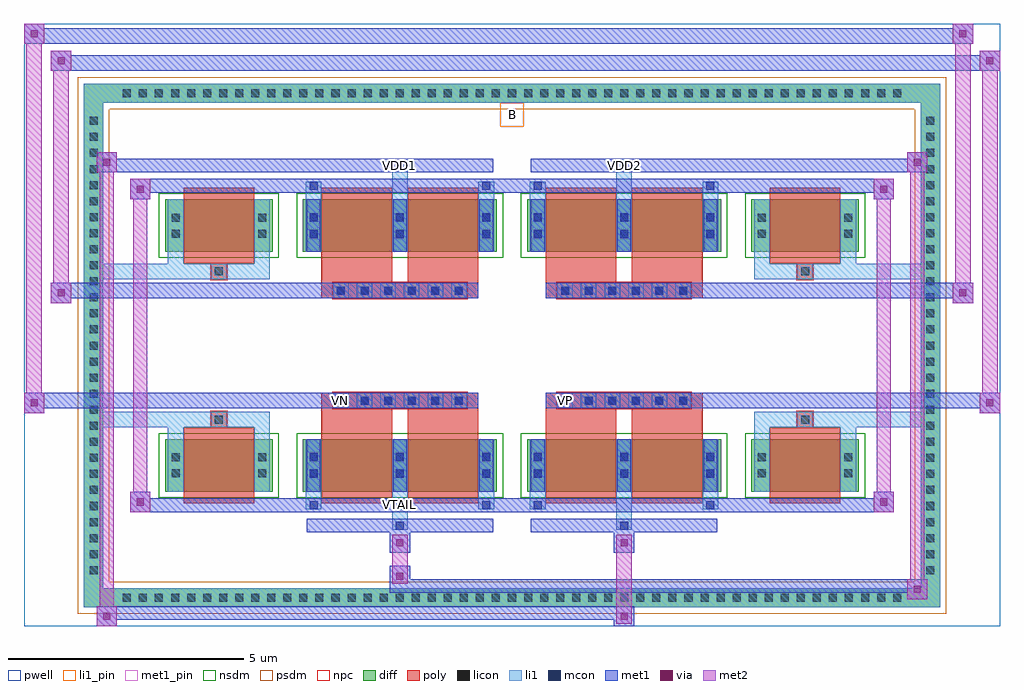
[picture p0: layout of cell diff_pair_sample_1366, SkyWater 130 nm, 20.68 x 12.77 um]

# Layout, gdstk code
import gdstk
lib = gdstk.Library(unit=1e-6, precision=5e-09)
def R(c, l, rs):  # rectangles x0, y0, x1, y1
    for r in rs: c.add(gdstk.rectangle(r[:2], r[2:], *l))
def A(c, l, x, y, w, h, nx, ny, dx, dy):  # array of equal rectangles
    R(c, l, [(x+i*dx, y+j*dy, x+i*dx+w, y+j*dy+h) for i in range(nx) for j in range(ny)])
def P(c, l, *ps):  # polygons
    for p in ps: c.add(gdstk.Polygon(p, *l))
pwell = (64, 44)
diff = (65, 20)
poly = (66, 20)
licon = (66, 44)
li1_pin = (67, 16)
li1 = (67, 20)
mcon = (67, 44)
met1_pin = (68, 16)
met1 = (68, 20)
via = (68, 44)
met2 = (69, 20)
nsdm = (93, 44)
psdm = (94, 20)
npc = (95, 20)

diff_pair_sample_1366 = lib.new_cell('diff_pair_sample_1366')
R(diff_pair_sample_1366, pwell, [(-10.34,-5.95,10.34,6.82), (-7.66,-4.14,-0.01,-0.8), (0.01,-4.14,7.66,-0.8), (-7.66,0.8,-0.01,4.14), (0.01,0.8,7.66,4.14)])
A(diff_pair_sample_1366, diff, -8.365, -5.55, 0.41, 0.41, 49, 2, 0.34, 10.69)
A(diff_pair_sample_1366, diff, -9.07, -4.965, 0.41, 0.41, 1, 29, 0, 0.34)
A(diff_pair_sample_1366, diff, 8.66, -4.965, 0.41, 0.41, 1, 29, 0, 0.34)
R(diff_pair_sample_1366, diff, [(-8.365,-5.55,8.365,-5.14), (-9.07,-4.965,-8.66,4.965), (8.66,-4.965,9.07,4.965), (-7.35,-3.095,-5.07,-1.985), (-4.43,-3.095,-0.32,-1.985), (0.32,-3.095,4.43,-1.985), (5.07,-3.095,7.35,-1.985), (-7.35,1.985,-5.07,3.095), (-4.43,1.985,-0.32,3.095), (0.32,1.985,4.43,3.095), (5.07,1.985,7.35,3.095), (-8.365,5.14,8.365,5.55)])
P(diff_pair_sample_1366, diff, [(9.07,5.55),(-9.07,5.55),(-9.07,-5.14),(-8.66,-5.14),(-8.66,5.14),(8.66,5.14),(8.66,-5.14),(-8.66,-5.14),(-9.07,-5.14),(-9.07,-5.55),(9.07,-5.55)])
A(diff_pair_sample_1366, poly, -3.79, -1.33, 0.33, 0.33, 6, 2, 0.5, 2.33)
A(diff_pair_sample_1366, poly, 0.96, -1.33, 0.33, 0.33, 6, 2, 0.5, 2.33)
R(diff_pair_sample_1366, poly, [(-6.96,-3.345,-5.46,-1.735), (-4.04,-3.345,-2.54,-1.735), (-2.21,-3.345,-0.71,-1.735), (0.71,-3.345,2.21,-1.735), (2.54,-3.345,4.04,-1.735), (5.46,-3.345,6.96,-1.735), (-6.375,-1.735,-6.045,-1.405), (-6.375,-1.735,-6.045,-1.405), (-4.04,-1.735,-2.54,-1.33), (-2.21,-1.735,-0.71,-1.33), (0.71,-1.735,2.21,-1.33), (2.54,-1.735,4.04,-1.33), (6.045,-1.735,6.375,-1.405), (6.045,-1.735,6.375,-1.405), (-4.04,-1.33,-0.71,-1), (0.71,-1.33,4.04,-1), (-4.04,1,-0.71,1.33), (0.71,1,4.04,1.33), (-4.04,1.33,-2.54,1.735), (-2.21,1.33,-0.71,1.735), (0.71,1.33,2.21,1.735), (2.54,1.33,4.04,1.735), (-6.375,1.405,-6.045,1.735), (-6.375,1.405,-6.045,1.735), (6.045,1.405,6.375,1.735), (6.045,1.405,6.375,1.735), (-6.96,1.735,-5.46,3.345), (-4.04,1.735,-2.54,3.345), (-2.21,1.735,-0.71,3.345), (0.71,1.735,2.21,3.345), (2.54,1.735,4.04,3.345), (5.46,1.735,6.96,3.345)])
A(diff_pair_sample_1366, licon, -8.245, -5.43, 0.17, 0.17, 49, 2, 0.34, 10.69)
A(diff_pair_sample_1366, licon, -8.95, -4.845, 0.17, 0.17, 1, 29, 0, 0.34)
A(diff_pair_sample_1366, licon, 8.78, -4.845, 0.17, 0.17, 1, 29, 0, 0.34)
A(diff_pair_sample_1366, licon, -4.29, -2.795, 0.17, 0.17, 3, 2, 1.83, 0.34)
A(diff_pair_sample_1366, licon, 0.46, -2.795, 0.17, 0.17, 3, 2, 1.83, 0.34)
A(diff_pair_sample_1366, licon, -3.71, -1.25, 0.17, 0.17, 6, 2, 0.5, 2.33)
A(diff_pair_sample_1366, licon, 1.04, -1.25, 0.17, 0.17, 6, 2, 0.5, 2.33)
A(diff_pair_sample_1366, licon, -4.29, 2.285, 0.17, 0.17, 3, 2, 1.83, 0.34)
A(diff_pair_sample_1366, licon, 0.46, 2.285, 0.17, 0.17, 3, 2, 1.83, 0.34)
R(diff_pair_sample_1366, licon, [(-7.21,-2.795,-7.04,-2.625), (-5.38,-2.795,-5.21,-2.625), (5.21,-2.795,5.38,-2.625), (7.04,-2.795,7.21,-2.625), (-7.21,-2.455,-7.04,-2.285), (-5.38,-2.455,-5.21,-2.285), (5.21,-2.455,5.38,-2.285), (7.04,-2.455,7.21,-2.285), (-6.295,-1.655,-6.125,-1.485), (6.125,-1.655,6.295,-1.485), (-6.295,1.485,-6.125,1.655), (6.125,1.485,6.295,1.655), (-7.21,2.285,-7.04,2.455), (-5.38,2.285,-5.21,2.455), (5.21,2.285,5.38,2.455), (7.04,2.285,7.21,2.455), (-7.21,2.625,-7.04,2.795), (-5.38,2.625,-5.21,2.795), (5.21,2.625,5.38,2.795), (7.04,2.625,7.21,2.795)])
R(diff_pair_sample_1366, li1_pin, [(-0.25,4.64,0.25,5.14)])
A(diff_pair_sample_1366, li1, -8.325, -5.51, 0.33, 0.33, 49, 2, 0.34, 10.69)
A(diff_pair_sample_1366, li1, -9.03, -4.925, 0.33, 0.33, 1, 29, 0, 0.34)
A(diff_pair_sample_1366, li1, 8.7, -4.925, 0.33, 0.33, 1, 29, 0, 0.34)
A(diff_pair_sample_1366, li1, -4.37, -3.095, 0.33, 1.11, 3, 2, 1.83, 5.08)
A(diff_pair_sample_1366, li1, 0.38, -3.095, 0.33, 1.11, 3, 2, 1.83, 5.08)
A(diff_pair_sample_1366, li1, -4.37, -2.875, 0.33, 0.33, 3, 2, 1.83, 0.34)
A(diff_pair_sample_1366, li1, 0.38, -2.875, 0.33, 0.33, 3, 2, 1.83, 0.34)
A(diff_pair_sample_1366, li1, -4.29, -2.805, 0.17, 0.17, 3, 2, 1.83, 0.36)
A(diff_pair_sample_1366, li1, -4.29, -2.805, 0.17, 0.53, 3, 2, 1.83, 5.08)
A(diff_pair_sample_1366, li1, 0.46, -2.805, 0.17, 0.17, 3, 2, 1.83, 0.36)
A(diff_pair_sample_1366, li1, 0.46, -2.805, 0.17, 0.53, 3, 2, 1.83, 5.08)
A(diff_pair_sample_1366, li1, -3.79, -1.33, 0.33, 0.33, 6, 2, 0.5, 2.33)
A(diff_pair_sample_1366, li1, 0.96, -1.33, 0.33, 0.33, 6, 2, 0.5, 2.33)
A(diff_pair_sample_1366, li1, -4.37, 2.205, 0.33, 0.33, 3, 2, 1.83, 0.34)
A(diff_pair_sample_1366, li1, 0.38, 2.205, 0.33, 0.33, 3, 2, 1.83, 0.34)
A(diff_pair_sample_1366, li1, -4.29, 2.275, 0.17, 0.17, 3, 2, 1.83, 0.36)
A(diff_pair_sample_1366, li1, 0.46, 2.275, 0.17, 0.17, 3, 2, 1.83, 0.36)
R(diff_pair_sample_1366, li1, [(-9.07,-5.55,-8.66,-5.14), (-9.07,-5.55,-8.66,-5.14), (-8.66,-5.55,8.66,-5.14), (8.66,-5.55,9.07,-5.14), (8.66,-5.55,9.07,-5.14), (-9.07,-5.14,-8.66,5.14), (8.66,-5.14,9.07,5.14), (-2.54,-3.9,-2.21,-3.095), (-2.46,-3.9,-2.29,-3.73), (2.21,-3.9,2.54,-3.095), (2.29,-3.9,2.46,-3.73), (-4.37,-3.47,-4.04,-3.095), (-4.29,-3.47,-4.12,-3.3), (-0.71,-3.47,-0.38,-3.095), (-0.63,-3.47,-0.46,-3.3), (0.38,-3.47,0.71,-3.095), (0.46,-3.47,0.63,-3.3), (4.04,-3.47,4.37,-3.095), (4.12,-3.47,4.29,-3.3), (-7.29,-3.095,-6.96,-1.985), (-5.46,-3.095,-5.13,-1.985), (5.13,-3.095,5.46,-1.985), (6.96,-3.095,7.29,-1.985), (-7.29,-2.875,-6.96,-2.545), (-5.46,-2.875,-5.13,-2.545), (5.13,-2.875,5.46,-2.545), (6.96,-2.875,7.29,-2.545), (-7.29,-2.535,-6.96,-2.205), (-5.46,-2.535,-5.13,-2.205), (5.13,-2.535,5.46,-2.205), (6.96,-2.535,7.29,-2.205), (-7.29,-1.985,-6.96,-1.405), (-5.46,-1.985,-5.13,-1.405), (5.13,-1.985,5.46,-1.405), (6.96,-1.985,7.29,-1.405), (-9.07,-1.735,-6.375,-1.405), (-7.29,-1.735,-6.375,-1.405), (-6.375,-1.735,-6.045,-1.405), (-6.045,-1.735,-5.13,-1.405), (5.13,-1.735,6.045,-1.405), (6.045,-1.735,6.375,-1.405), (6.045,-1.735,9.07,-1.405), (6.375,-1.735,7.29,-1.405), (-9.07,1.405,-6.375,1.735), (-7.29,1.405,-6.375,1.735), (-7.29,1.405,-6.96,1.985), (-6.375,1.405,-6.045,1.735), (-6.045,1.405,-5.13,1.735), (-5.46,1.405,-5.13,1.985), (5.13,1.405,6.045,1.735), (5.13,1.405,5.46,1.985), (6.045,1.405,6.375,1.735), (6.045,1.405,9.07,1.735), (6.375,1.405,7.29,1.735), (6.96,1.405,7.29,1.985), (-7.29,1.985,-6.96,3.095), (-5.46,1.985,-5.13,3.095), (5.13,1.985,5.46,3.095), (6.96,1.985,7.29,3.095), (-7.29,2.205,-6.96,2.535), (-5.46,2.205,-5.13,2.535), (5.13,2.205,5.46,2.535), (6.96,2.205,7.29,2.535), (-7.29,2.545,-6.96,2.875), (-5.46,2.545,-5.13,2.875), (5.13,2.545,5.46,2.875), (6.96,2.545,7.29,2.875), (-4.37,3.095,-4.04,3.47), (-2.54,3.095,-2.21,3.9), (-0.71,3.095,-0.38,3.47), (0.38,3.095,0.71,3.47), (2.21,3.095,2.54,3.9), (4.04,3.095,4.37,3.47), (-4.29,3.3,-4.12,3.47), (-0.63,3.3,-0.46,3.47), (0.46,3.3,0.63,3.47), (4.12,3.3,4.29,3.47), (-2.46,3.73,-2.29,3.9), (2.29,3.73,2.46,3.9), (-9.07,5.14,-8.66,5.55), (-9.07,5.14,-8.66,5.55), (-8.66,5.14,8.66,5.55), (8.66,5.14,9.07,5.55), (8.66,5.14,9.07,5.55)])
A(diff_pair_sample_1366, mcon, -4.29, -2.805, 0.17, 0.17, 3, 2, 1.83, 0.36)
A(diff_pair_sample_1366, mcon, 0.46, -2.805, 0.17, 0.17, 3, 2, 1.83, 0.36)
A(diff_pair_sample_1366, mcon, -3.71, -1.25, 0.17, 0.17, 6, 2, 0.5, 2.33)
A(diff_pair_sample_1366, mcon, 1.04, -1.25, 0.17, 0.17, 6, 2, 0.5, 2.33)
A(diff_pair_sample_1366, mcon, -4.29, 2.275, 0.17, 0.17, 3, 2, 1.83, 0.36)
A(diff_pair_sample_1366, mcon, 0.46, 2.275, 0.17, 0.17, 3, 2, 1.83, 0.36)
R(diff_pair_sample_1366, mcon, [(-2.46,-3.9,-2.29,-3.73), (2.29,-3.9,2.46,-3.73), (-4.29,-3.47,-4.12,-3.3), (-0.63,-3.47,-0.46,-3.3), (0.46,-3.47,0.63,-3.3), (4.12,-3.47,4.29,-3.3), (-4.29,3.3,-4.12,3.47), (-0.63,3.3,-0.46,3.47), (0.46,3.3,0.63,3.47), (4.12,3.3,4.29,3.47), (-2.46,3.73,-2.29,3.9), (2.29,3.73,2.46,3.9)])
R(diff_pair_sample_1366, met1_pin, [(-2.51,-3.51,-2.24,-3.24), (-3.76,-1.29,-3.49,-1.02), (0.99,-1.29,1.26,-1.02), (-2.51,3.69,-2.24,3.96), (2.24,3.69,2.51,3.96)])
A(diff_pair_sample_1366, met1, -4.35, -3.095, 0.29, 1.11, 3, 2, 1.83, 5.08)
A(diff_pair_sample_1366, met1, 0.4, -3.095, 0.29, 1.11, 3, 2, 1.83, 5.08)
A(diff_pair_sample_1366, met1, -4.35, -2.865, 0.29, 0.29, 3, 2, 1.83, 0.36)
A(diff_pair_sample_1366, met1, 0.4, -2.865, 0.29, 0.29, 3, 2, 1.83, 0.36)
A(diff_pair_sample_1366, met1, -3.77, -1.31, 0.29, 0.29, 6, 2, 0.5, 2.33)
A(diff_pair_sample_1366, met1, 0.98, -1.31, 0.29, 0.29, 6, 2, 0.5, 2.33)
A(diff_pair_sample_1366, met1, -4.35, 2.215, 0.29, 0.29, 3, 2, 1.83, 0.36)
A(diff_pair_sample_1366, met1, 0.4, 2.215, 0.29, 0.29, 3, 2, 1.83, 0.36)
R(diff_pair_sample_1366, met1, [(-8.8,-5.95,-8.37,-5.52), (2.16,-5.95,2.59,-5.52), (-8.8,-5.81,2.59,-5.52), (8.37,-5.38,8.8,-4.95), (-2.59,-5.24,8.8,-4.95), (-2.59,-5.1,-2.16,-4.67), (-2.59,-4.39,-2.16,-3.96), (2.16,-4.39,2.59,-3.96), (-4.35,-3.96,-0.4,-3.67), (-2.52,-3.96,-2.23,-3.67), (0.4,-3.96,4.35,-3.67), (2.23,-3.96,2.52,-3.67), (-8.09,-3.53,-7.66,-3.1), (-8.09,-3.53,-4.35,-3.24), (-4.35,-3.53,-4.06,-3.24), (-4.35,-3.53,-0.4,-3.24), (-0.69,-3.53,-0.4,-3.24), (-0.4,-3.53,0.4,-3.24), (0.4,-3.53,0.69,-3.24), (0.4,-3.53,4.35,-3.24), (4.06,-3.53,4.35,-3.24), (4.35,-3.53,8.09,-3.24), (7.66,-3.53,8.09,-3.1), (-10.34,-1.43,-9.91,-1), (9.91,-1.43,10.34,-1), (-10.34,-1.33,-0.71,-1), (-4.04,-1.33,-0.71,-1), (0.71,-1.33,4.04,-1), (0.71,-1.33,10.34,-1), (-9.77,0.9,-9.34,1.33), (9.34,0.9,9.77,1.33), (-9.77,1,-4.04,1.33), (-4.04,1,-0.71,1.33), (0.71,1,4.04,1.33), (4.04,1,9.77,1.33), (-8.09,3.1,-7.66,3.53), (7.66,3.1,8.09,3.53), (-8.09,3.24,-4.35,3.53), (-4.35,3.24,-4.06,3.53), (-4.35,3.24,-0.4,3.53), (-0.69,3.24,-0.4,3.53), (-0.4,3.24,0.4,3.53), (0.4,3.24,0.69,3.53), (0.4,3.24,4.35,3.53), (4.06,3.24,4.35,3.53), (4.35,3.24,8.09,3.53), (-8.8,3.67,-8.37,4.1), (-8.8,3.67,-4.35,3.96), (-4.35,3.67,-0.4,3.96), (-2.52,3.67,-2.23,3.96), (0.4,3.67,4.35,3.96), (2.23,3.67,2.52,3.96), (4.35,3.67,8.8,3.96), (8.37,3.67,8.8,4.1), (-9.77,5.82,-9.34,6.25), (-9.77,5.82,-7.66,6.15), (-7.66,5.82,7.66,6.15), (7.66,5.82,10.34,6.15), (9.91,5.82,10.34,6.25), (-10.34,6.39,-9.91,6.82), (-10.34,6.39,-7.66,6.72), (-7.66,6.39,7.66,6.72), (7.66,6.39,9.77,6.72), (9.34,6.39,9.77,6.82)])
R(diff_pair_sample_1366, via, [(-8.66,-5.81,-8.51,-5.66), (2.3,-5.81,2.45,-5.66), (8.51,-5.24,8.66,-5.09), (-2.45,-4.96,-2.3,-4.81), (-2.45,-4.25,-2.3,-4.1), (2.3,-4.25,2.45,-4.1), (-7.95,-3.39,-7.8,-3.24), (7.8,-3.39,7.95,-3.24), (-10.2,-1.29,-10.05,-1.14), (10.05,-1.29,10.2,-1.14), (-9.63,1.04,-9.48,1.19), (9.48,1.04,9.63,1.19), (-7.95,3.24,-7.8,3.39), (7.8,3.24,7.95,3.39), (-8.66,3.81,-8.51,3.96), (8.51,3.81,8.66,3.96), (-9.63,5.96,-9.48,6.11), (10.05,5.96,10.2,6.11), (-10.2,6.53,-10.05,6.68), (9.48,6.53,9.63,6.68)])
R(diff_pair_sample_1366, met2, [(-8.8,-5.95,-8.37,-5.52), (-8.73,-5.95,-8.44,4.1), (-8.44,-5.95,-8.37,-5.52), (-8.75,-5.9,-8.42,-5.57), (2.21,-5.9,2.54,-5.57), (2.21,-5.57,2.54,-4.34), (8.37,-5.38,8.8,-4.95), (8.44,-5.38,8.73,4.1), (8.73,-5.38,8.8,-4.95), (8.42,-5.33,8.75,-5), (-2.54,-5.05,-2.21,-4.72), (-2.54,-4.72,-2.21,-4.34), (-2.54,-4.34,-2.21,-4.01), (2.21,-4.34,2.54,-4.01), (-8.09,-3.53,-7.66,-3.1), (-8.02,-3.53,-7.73,3.53), (-7.73,-3.53,-7.66,-3.1), (7.66,-3.53,8.09,-3.1), (7.73,-3.53,8.02,3.53), (8.02,-3.53,8.09,-3.1), (-8.04,-3.48,-7.71,-3.15), (7.71,-3.48,8.04,-3.15), (-10.34,-1.43,-9.91,-1), (-10.29,-1.43,-9.96,6.82), (-9.96,-1.43,-9.91,-1), (9.91,-1.43,10.34,-1), (9.96,-1.43,10.29,6.25), (10.29,-1.43,10.34,-1), (-10.29,-1.38,-9.96,-1.05), (9.96,-1.38,10.29,-1.05), (-9.77,0.9,-9.34,1.33), (-9.72,0.9,-9.39,6.25), (-9.39,0.9,-9.34,1.33), (9.34,0.9,9.77,1.33), (9.39,0.9,9.72,6.82), (9.72,0.9,9.77,1.33), (-9.72,0.95,-9.39,1.28), (9.39,0.95,9.72,1.28), (-8.09,3.1,-7.66,3.53), (-7.73,3.1,-7.66,3.53), (7.66,3.1,8.09,3.53), (8.02,3.1,8.09,3.53), (-8.04,3.15,-7.71,3.48), (7.71,3.15,8.04,3.48), (-8.8,3.67,-8.37,4.1), (-8.44,3.67,-8.37,4.1), (8.37,3.67,8.8,4.1), (8.73,3.67,8.8,4.1), (-8.75,3.72,-8.42,4.05), (8.42,3.72,8.75,4.05), (-9.77,5.82,-9.34,6.25), (-9.39,5.82,-9.34,6.25), (9.91,5.82,10.34,6.25), (10.29,5.82,10.34,6.25), (-9.72,5.87,-9.39,6.2), (9.96,5.87,10.29,6.2), (-10.34,6.39,-9.91,6.82), (-9.96,6.39,-9.91,6.82), (9.34,6.39,9.77,6.82), (9.72,6.39,9.77,6.82), (-10.29,6.44,-9.96,6.77), (9.39,6.44,9.72,6.77)])
R(diff_pair_sample_1366, nsdm, [(-7.48,-3.225,-4.94,-1.855), (-4.56,-3.225,-0.19,-1.855), (0.19,-3.225,4.56,-1.855), (4.94,-3.225,7.48,-1.855), (-7.48,1.855,-4.94,3.225), (-4.56,1.855,-0.19,3.225), (0.19,1.855,4.56,3.225), (4.94,1.855,7.48,3.225)])
P(diff_pair_sample_1366, psdm, [(9.2,5.68),(-9.2,5.68),(-9.2,-5.01),(-8.53,-5.01),(-8.53,5.01),(8.53,5.01),(8.53,-5.01),(-8.53,-5.01),(-9.2,-5.01),(-9.2,-5.68),(9.2,-5.68)])
A(diff_pair_sample_1366, npc, -3.81, -1.35, 0.37, 0.37, 6, 2, 0.5, 2.33)
A(diff_pair_sample_1366, npc, 0.94, -1.35, 0.37, 0.37, 6, 2, 0.5, 2.33)
R(diff_pair_sample_1366, npc, [(-6.395,-1.755,-6.025,-1.385), (6.025,-1.755,6.395,-1.385), (-3.81,-1.35,-2.94,-0.98), (-3.81,-1.35,-2.94,-0.98), (-3.31,-1.35,-2.44,-0.98), (-3.31,-1.35,-2.44,-0.98), (-2.81,-1.35,-1.94,-0.98), (-2.81,-1.35,-1.94,-0.98), (-2.31,-1.35,-1.44,-0.98), (-2.31,-1.35,-1.44,-0.98), (-1.81,-1.35,-0.94,-0.98), (-1.81,-1.35,-0.94,-0.98), (0.94,-1.35,1.81,-0.98), (0.94,-1.35,1.81,-0.98), (1.44,-1.35,2.31,-0.98), (1.44,-1.35,2.31,-0.98), (1.94,-1.35,2.81,-0.98), (1.94,-1.35,2.81,-0.98), (2.44,-1.35,3.31,-0.98), (2.44,-1.35,3.31,-0.98), (2.94,-1.35,3.81,-0.98), (2.94,-1.35,3.81,-0.98), (-3.81,0.98,-2.94,1.35), (-3.81,0.98,-2.94,1.35), (-3.31,0.98,-2.44,1.35), (-3.31,0.98,-2.44,1.35), (-2.81,0.98,-1.94,1.35), (-2.81,0.98,-1.94,1.35), (-2.31,0.98,-1.44,1.35), (-2.31,0.98,-1.44,1.35), (-1.81,0.98,-0.94,1.35), (-1.81,0.98,-0.94,1.35), (0.94,0.98,1.81,1.35), (0.94,0.98,1.81,1.35), (1.44,0.98,2.31,1.35), (1.44,0.98,2.31,1.35), (1.94,0.98,2.81,1.35), (1.94,0.98,2.81,1.35), (2.44,0.98,3.31,1.35), (2.44,0.98,3.31,1.35), (2.94,0.98,3.81,1.35), (2.94,0.98,3.81,1.35), (-6.395,1.385,-6.025,1.755), (6.025,1.385,6.395,1.755)])
diff_pair_sample_1366.add(gdstk.Label('VTAIL', (-2.375,-3.375), layer=68, texttype=5))
diff_pair_sample_1366.add(gdstk.Label('VN', (-3.625,-1.155), layer=68, texttype=5))
diff_pair_sample_1366.add(gdstk.Label('VP', (1.125,-1.155), layer=68, texttype=5))
diff_pair_sample_1366.add(gdstk.Label('B', (0,4.89), layer=67, texttype=5))
diff_pair_sample_1366.add(gdstk.Label('VDD2', (2.375,3.825), layer=68, texttype=5))
diff_pair_sample_1366.add(gdstk.Label('VDD1', (-2.375,3.825), layer=68, texttype=5))

lib.write_gds('diff_pair_sample_1366.gds')
